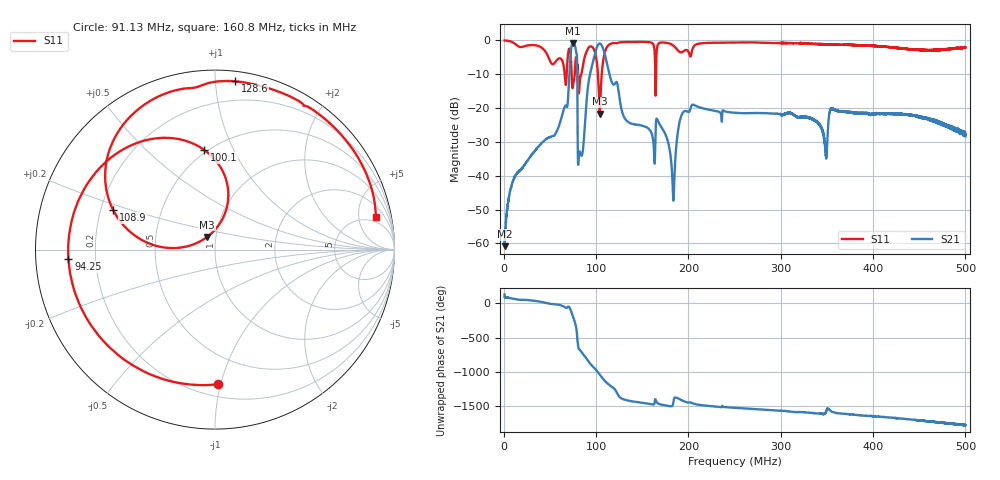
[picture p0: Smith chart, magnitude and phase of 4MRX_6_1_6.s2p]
! NanoVNA-App
! Date: 2026-08-19 14:59:15
! Start: 1MHz Stop: 500MHz Points: 6401
! S-Parameter data: F S11 S21 S12 S22
# Hz S RI R 50
!  Frequency  S11_Real  S11_Imag  S21_Real  S21_Imag  S12_Real  S12_Imag  S22_Real  S22_Imag
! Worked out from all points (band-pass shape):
!   6401 points, 1 MHz to 500 MHz, reference 50 ohm
!   highest |S21| = -0.89 dB at 74.91 MHz (marker M1); lowest = -60.8 dB at 1.078 MHz (marker M2)
!   |S21| within 3 dB of the highest: 72.61 MHz to 78.99 MHz (6.387 MHz wide, 8.43 % of centre); 98.9 MHz to 109.3 MHz (10.42 MHz wide, 10 % of centre)
!   lowest |S11| = -21.6 dB at 104 MHz (marker M3), VSWR 1.18, Z = 45.3 + j6.39 ohm
!   |S11| at or under -10 dB: 73.61 MHz to 76.84 MHz (3.228 MHz wide, 4.29 % of centre); 80.65 MHz to 84.03 MHz (3.381 MHz wide, 4.11 % of centre); 102 MHz to 106.2 MHz (4.13 MHz wide, 3.97 % of centre)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
!   S12 and S22 are empty: the file has one direction only
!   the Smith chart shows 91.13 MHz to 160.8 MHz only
!   S11 on the Smith chart (normalised r, x): 91.13 MHz: 0.29, -0.98; 94.25 MHz: 0.10, -0.03; 100.1 MHz: 0.48, +0.78; 108.9 MHz: 0.25, +0.18; 128.6 MHz: 0.07, +1.12; 160.8 MHz: 3.75, +8.33
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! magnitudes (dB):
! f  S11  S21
! 1 MHz  0.0  -59.7
! 1.078 MHz  0.0  -60.8
! 12.31 MHz  -1.0  -40.2
! 59.4 MHz  -5.4  -25.6
! 74.91 MHz  -13.4  -0.9
! 84.19 MHz  -9.8  -34.0
! 91.13 MHz  -2.5  -14.0
! 94.25 MHz  -1.7  -9.1
! 100.1 MHz  -5.1  -2.7
! 104 MHz  -21.6  -0.9
! 108.9 MHz  -4.3  -3.5
! 128.6 MHz  -0.5  -21.4
! 160.8 MHz  -0.8  -28.0
! 167.4 MHz  -1.0  -24.0
! 183.4 MHz  -1.5  -46.1
! 194.8 MHz  -3.2  -21.1
! 250.5 MHz  -0.6  -21.4
! 333.7 MHz  -1.0  -23.1
! 348.4 MHz  -1.1  -31.6
! 355.6 MHz  -1.2  -20.2
! 416.9 MHz  -1.9  -21.6
! 500 MHz  -2.2  -28.3
